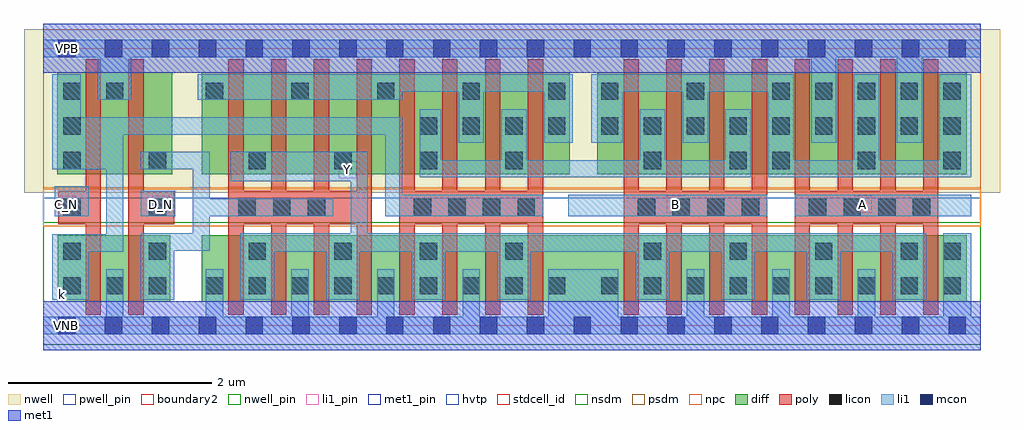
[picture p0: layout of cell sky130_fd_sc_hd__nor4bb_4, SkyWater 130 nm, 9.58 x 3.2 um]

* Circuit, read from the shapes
.subckt sky130_fd_sc_hd__nor4bb_4 A B C_N D_N VGND VNB VPB VPWR Y k
XM1 VGND C_N k VNB sky130_fd_pr__nfet_01v8 w=0.65 l=0.15
XM2 n1 D_N VGND VNB sky130_fd_pr__nfet_01v8 w=0.65 l=0.15
XM3 Y n1 VGND VNB sky130_fd_pr__nfet_01v8 w=0.65 l=0.15 m=4
XM4 Y k VGND VNB sky130_fd_pr__nfet_01v8 w=0.65 l=0.15 m=4
XM5 Y B VGND VNB sky130_fd_pr__nfet_01v8 w=0.65 l=0.15 m=4
XM6 Y A VGND VNB sky130_fd_pr__nfet_01v8 w=0.65 l=0.15 m=4
XM7 VPWR C_N k VPB sky130_fd_pr__pfet_01v8_hvt w=1 l=0.15
XM8 n1 D_N VPWR VPB sky130_fd_pr__pfet_01v8_hvt w=1 l=0.15
XM9 Y n1 n2 VPB sky130_fd_pr__pfet_01v8_hvt w=1 l=0.15 m=4
XM10 n3 k n2 VPB sky130_fd_pr__pfet_01v8_hvt w=1 l=0.15 m=4
XM11 n3 B n4 VPB sky130_fd_pr__pfet_01v8_hvt w=1 l=0.15 m=4
XM12 VPWR A n4 VPB sky130_fd_pr__pfet_01v8_hvt w=1 l=0.15 m=4
.ends

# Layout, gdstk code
import gdstk
lib = gdstk.Library(unit=1e-6, precision=1e-09)
def R(c, l, rs):  # rectangles x0, y0, x1, y1
    for r in rs: c.add(gdstk.rectangle(r[:2], r[2:], *l))
def A(c, l, x, y, w, h, nx, ny, dx, dy):  # array of equal rectangles
    R(c, l, [(x+i*dx, y+j*dy, x+i*dx+w, y+j*dy+h) for i in range(nx) for j in range(ny)])
def P(c, l, *ps):  # polygons
    for p in ps: c.add(gdstk.Polygon(p, *l))
nwell_pin = (64, 16)
nwell = (64, 20)
diff = (65, 20)
poly = (66, 20)
licon = (66, 44)
li1_pin = (67, 16)
li1 = (67, 20)
mcon = (67, 44)
met1_pin = (68, 16)
met1 = (68, 20)
hvtp = (78, 44)
stdcell_id = (81, 4)
nsdm = (93, 44)
psdm = (94, 20)
npc = (95, 20)
pwell_pin = (122, 16)
boundary2 = (236, 0)

sky130_fd_sc_hd__nor4bb_ = lib.new_cell('sky130_fd_sc_hd__nor4bb_4')
R(sky130_fd_sc_hd__nor4bb_, nwell_pin, [(0.15,2.635,0.32,2.805)])
R(sky130_fd_sc_hd__nor4bb_, nwell, [(-0.19,1.305,9.39,2.91)])
R(sky130_fd_sc_hd__nor4bb_, diff, [(0.14,0.235,1.245,0.885), (1.555,0.235,9.065,0.885), (0.135,1.485,1.265,2.485), (1.555,1.485,5.165,2.485), (5.435,1.485,9.065,2.485)])
P(sky130_fd_sc_hd__nor4bb_, poly, [(0.565,2.615),(0.415,2.615),(0.415,1.325),(0.145,1.325),(0.145,0.995),(0.415,0.995),(0.415,0.105),(0.565,0.105)],
  [(1.285,1.325),(0.985,1.325),(0.985,2.615),(0.835,2.615),(0.835,0.105),(0.985,0.105),(0.985,0.995),(1.285,0.995)],
  [(3.225,2.615),(3.075,2.615),(3.075,1.325),(2.805,1.325),(2.805,2.615),(2.655,2.615),(2.655,1.325),(2.385,1.325),(2.385,2.615),(2.235,2.615),(2.235,1.325),(1.965,1.325),(1.965,2.615),(1.815,2.615),(1.815,0.105),(1.965,0.105),(1.965,0.995),(2.235,0.995),(2.235,0.105),(2.385,0.105),(2.385,0.995),(2.655,0.995),(2.655,0.105),(2.805,0.105),(2.805,0.995),(3.075,0.995),(3.075,0.105),(3.225,0.105)],
  [(4.905,2.615),(4.755,2.615),(4.755,1.325),(4.485,1.325),(4.485,2.615),(4.335,2.615),(4.335,1.325),(4.065,1.325),(4.065,2.615),(3.915,2.615),(3.915,1.325),(3.645,1.325),(3.645,2.615),(3.495,2.615),(3.495,0.105),(3.645,0.105),(3.645,0.995),(3.915,0.995),(3.915,0.105),(4.065,0.105),(4.065,0.995),(4.335,0.995),(4.335,0.105),(4.485,0.105),(4.485,0.995),(4.755,0.995),(4.755,0.105),(4.905,0.105)],
  [(7.105,2.615),(6.955,2.615),(6.955,1.325),(6.685,1.325),(6.685,2.615),(6.535,2.615),(6.535,1.325),(6.265,1.325),(6.265,2.615),(6.115,2.615),(6.115,1.325),(5.845,1.325),(5.845,2.615),(5.695,2.615),(5.695,0.105),(5.845,0.105),(5.845,0.995),(6.115,0.995),(6.115,0.105),(6.265,0.105),(6.265,0.995),(6.535,0.995),(6.535,0.105),(6.685,0.105),(6.685,0.995),(6.955,0.995),(6.955,0.105),(7.105,0.105)],
  [(8.785,2.615),(8.635,2.615),(8.635,1.325),(8.365,1.325),(8.365,2.615),(8.215,2.615),(8.215,1.325),(7.945,1.325),(7.945,2.615),(7.795,2.615),(7.795,1.325),(7.525,1.325),(7.525,2.615),(7.375,2.615),(7.375,0.105),(7.525,0.105),(7.525,0.995),(7.795,0.995),(7.795,0.105),(7.945,0.105),(7.945,0.995),(8.215,0.995),(8.215,0.105),(8.365,0.105),(8.365,0.995),(8.635,0.995),(8.635,0.105),(8.785,0.105)])
A(sky130_fd_sc_hd__nor4bb_, licon, 0.195, 0.305, 0.17, 0.17, 3, 1, 0.42, 0)
A(sky130_fd_sc_hd__nor4bb_, licon, 1.595, 0.305, 0.17, 0.17, 9, 1, 0.42, 0)
A(sky130_fd_sc_hd__nor4bb_, licon, 5.475, 0.305, 0.17, 0.17, 9, 2, 0.42, 1.57)
A(sky130_fd_sc_hd__nor4bb_, licon, 2.015, 0.645, 0.17, 0.17, 4, 2, 0.84, 0.89)
A(sky130_fd_sc_hd__nor4bb_, licon, 5.895, 0.645, 0.17, 0.17, 4, 1, 0.84, 0)
A(sky130_fd_sc_hd__nor4bb_, licon, 1.915, 1.075, 0.17, 0.17, 3, 1, 0.34, 0)
A(sky130_fd_sc_hd__nor4bb_, licon, 3.635, 1.075, 0.17, 0.17, 4, 1, 0.34, 0)
A(sky130_fd_sc_hd__nor4bb_, licon, 5.835, 1.075, 0.17, 0.17, 4, 1, 0.34, 0)
A(sky130_fd_sc_hd__nor4bb_, licon, 7.515, 1.075, 0.17, 0.17, 4, 1, 0.34, 0)
A(sky130_fd_sc_hd__nor4bb_, licon, 0.195, 1.535, 0.17, 0.17, 1, 3, 0, 0.34)
A(sky130_fd_sc_hd__nor4bb_, licon, 7.155, 1.535, 0.17, 0.17, 3, 1, 0.84, 0)
A(sky130_fd_sc_hd__nor4bb_, licon, 3.695, 1.875, 0.17, 0.17, 4, 1, 0.42, 0)
A(sky130_fd_sc_hd__nor4bb_, licon, 1.595, 2.215, 0.17, 0.17, 5, 1, 0.84, 0)
A(sky130_fd_sc_hd__nor4bb_, licon, 5.475, 2.215, 0.17, 0.17, 3, 1, 0.84, 0)
A(sky130_fd_sc_hd__nor4bb_, licon, 7.575, 2.215, 0.17, 0.17, 4, 1, 0.42, 0)
R(sky130_fd_sc_hd__nor4bb_, licon, [(0.195,0.645,0.365,0.815), (1.035,0.645,1.205,0.815), (8.835,0.645,9.005,0.815), (0.195,1.075,0.365,1.245), (1.035,1.075,1.205,1.245), (1.035,1.535,1.205,1.705), (5.895,1.535,6.065,1.705), (6.735,1.535,6.905,1.705), (0.615,2.215,0.785,2.385)])
R(sky130_fd_sc_hd__nor4bb_, li1_pin, [(0.15,1.105,0.32,1.275), (1.07,1.105,1.24,1.275), (6.12,1.105,6.29,1.275), (7.96,1.105,8.13,1.275), (2.9,1.445,3.07,1.615)])
R(sky130_fd_sc_hd__nor4bb_, li1, [(0.11,1.075,0.445,1.365), (0.955,1.075,1.295,1.325), (5.15,1.075,7.105,1.285), (7.375,1.075,9.11,1.285)])
P(sky130_fd_sc_hd__nor4bb_, li1, [(5.195,2.465),(1.515,2.465),(1.515,2.215),(3.525,2.215),(3.525,2.295),(4.075,2.295),(4.075,1.795),(4.325,1.795),(4.325,2.295),(4.915,2.295),(4.915,1.795),(5.195,1.795)],
  [(4.905,1.285),(3.525,1.285),(3.525,2.045),(0.365,2.045),(0.365,2.465),(0.085,2.465),(0.085,1.535),(0.615,1.535),(0.615,0.895),(0.085,0.895),(0.085,0.255),(0.445,0.255),(0.445,0.725),(0.785,0.725),(0.785,1.875),(3.355,1.875),(3.355,1.075),(4.905,1.075)],
  [(9.11,2.465),(8.795,2.465),(8.795,1.625),(8.205,1.625),(8.205,2.465),(7.955,2.465),(7.955,1.625),(7.365,1.625),(7.365,2.465),(5.38,2.465),(5.38,1.795),(5.685,1.795),(5.685,2.295),(6.275,2.295),(6.275,1.795),(6.525,1.795),(6.525,2.295),(7.115,2.295),(7.115,1.455),(9.11,1.455)],
  [(9.2,0.085),(9.11,0.085),(9.11,0.905),(8.835,0.905),(8.835,0.085),(8.165,0.085),(8.165,0.555),(7.995,0.555),(7.995,0.085),(7.325,0.085),(7.325,0.555),(7.155,0.555),(7.155,0.085),(6.485,0.085),(6.485,0.555),(6.315,0.555),(6.315,0.085),(5.645,0.085),(5.645,0.555),(4.955,0.555),(4.955,0.085),(4.285,0.085),(4.285,0.555),(4.115,0.555),(4.115,0.085),(3.445,0.085),(3.445,0.555),(3.275,0.555),(3.275,0.085),(2.605,0.085),(2.605,0.555),(2.435,0.555),(2.435,0.085),(1.765,0.085),(1.765,0.555),(1.595,0.555),(1.595,0.085),(0.785,0.085),(0.785,0.555),(0.615,0.555),(0.615,0.085),(0,0.085),(0,-0.085),(9.2,-0.085)],
  [(9.2,2.805),(0,2.805),(0,2.635),(0.535,2.635),(0.535,2.215),(0.865,2.215),(0.865,2.635),(7.535,2.635),(7.535,1.795),(7.785,1.795),(7.785,2.635),(8.375,2.635),(8.375,1.795),(8.625,1.795),(8.625,2.635),(9.2,2.635)],
  [(6.945,2.125),(6.695,2.125),(6.695,1.625),(6.105,1.625),(6.105,2.125),(5.855,2.125),(5.855,1.625),(4.745,1.625),(4.745,2.125),(4.495,2.125),(4.495,1.625),(3.905,1.625),(3.905,2.125),(3.695,2.125),(3.695,1.455),(6.945,1.455)],
  [(8.665,0.905),(3.185,0.905),(3.185,1.705),(1.84,1.705),(1.84,1.415),(3.015,1.415),(3.015,0.905),(1.935,0.905),(1.935,0.255),(2.265,0.255),(2.265,0.725),(2.775,0.725),(2.775,0.255),(3.105,0.255),(3.105,0.725),(3.615,0.725),(3.615,0.255),(3.945,0.255),(3.945,0.725),(4.455,0.725),(4.455,0.255),(4.785,0.255),(4.785,0.725),(5.815,0.725),(5.815,0.255),(6.145,0.255),(6.145,0.725),(6.655,0.725),(6.655,0.255),(6.985,0.255),(6.985,0.725),(7.495,0.725),(7.495,0.255),(7.825,0.255),(7.825,0.725),(8.335,0.725),(8.335,0.255),(8.665,0.255)],
  [(2.845,1.245),(1.635,1.245),(1.635,1.705),(0.955,1.705),(0.955,1.535),(1.465,1.535),(1.465,0.905),(0.955,0.905),(0.955,0.255),(1.285,0.255),(1.285,0.735),(1.635,0.735),(1.635,1.075),(2.845,1.075)])
A(sky130_fd_sc_hd__nor4bb_, mcon, 0.145, -0.085, 0.17, 0.17, 20, 2, 0.46, 2.72)
R(sky130_fd_sc_hd__nor4bb_, met1_pin, [(0.15,-0.085,0.32,0.085), (0.15,2.635,0.32,2.805)])
R(sky130_fd_sc_hd__nor4bb_, hvtp, [(0,1.25,9.2,2.72)])
R(sky130_fd_sc_hd__nor4bb_, stdcell_id, [(0,0,9.2,2.72)])
R(sky130_fd_sc_hd__nor4bb_, nsdm, [(0,-0.19,9.2,1.015)])
R(sky130_fd_sc_hd__nor4bb_, psdm, [(0,1.355,9.2,2.91)])
R(sky130_fd_sc_hd__nor4bb_, npc, [(0,0.975,9.2,1.345)])
R(sky130_fd_sc_hd__nor4bb_, pwell_pin, [(0.15,-0.085,0.32,0.085)])
R(sky130_fd_sc_hd__nor4bb_, boundary2, [(0,0,9.2,2.72)])
sky130_fd_sc_hd__nor4bb_.add(gdstk.FlexPath([(0,2.72),(9.2,2.72)], 0.48, ends="flush", simple_path=True, layer=68, datatype=20))  # met1
sky130_fd_sc_hd__nor4bb_.add(gdstk.FlexPath([(0,0),(9.2,0)], 0.48, ends="flush", simple_path=True, layer=68, datatype=20))  # met1
sky130_fd_sc_hd__nor4bb_.add(gdstk.Label('D_N', (1.15,1.19), layer=67, texttype=5))
sky130_fd_sc_hd__nor4bb_.add(gdstk.Label('Y', (2.985,1.53), layer=67, texttype=5))
sky130_fd_sc_hd__nor4bb_.add(gdstk.Label('A', (8.045,1.19), layer=67, texttype=5))
sky130_fd_sc_hd__nor4bb_.add(gdstk.Label('B', (6.205,1.19), layer=67, texttype=5))
sky130_fd_sc_hd__nor4bb_.add(gdstk.Label('C_N', (0.23,1.19), layer=67, texttype=5))
sky130_fd_sc_hd__nor4bb_.add(gdstk.Label('VNB', (0.23,0), layer=64, texttype=59))
sky130_fd_sc_hd__nor4bb_.add(gdstk.Label('VPB', (0.235,2.72), layer=64, texttype=5))
sky130_fd_sc_hd__nor4bb_.add(gdstk.Label('VGND', (0.23,0), layer=68, texttype=5))
sky130_fd_sc_hd__nor4bb_.add(gdstk.Label('VPWR', (0.23,2.72), layer=68, texttype=5))
sky130_fd_sc_hd__nor4bb_.add(gdstk.Label('k', (0.19,0.305), layer=65, texttype=20))
sky130_fd_sc_hd__nor4bb_.add(gdstk.Label('nor4bb_4', (0,0), layer=83, texttype=44))

lib.write_gds('sky130_fd_sc_hd__nor4bb_4.gds')
